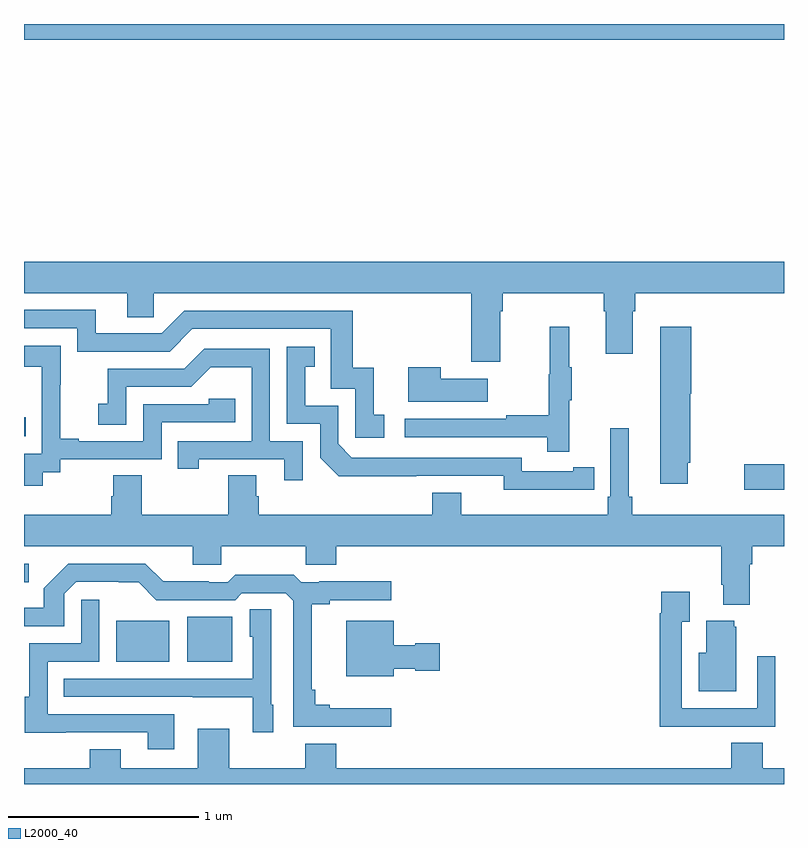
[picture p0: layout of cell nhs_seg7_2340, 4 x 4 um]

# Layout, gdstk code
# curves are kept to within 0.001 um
import gdstk
lib = gdstk.Library(unit=1e-6, precision=1e-09)
def R(c, l, rs):  # rectangles x0, y0, x1, y1
    for r in rs: c.add(gdstk.rectangle(r[:2], r[2:], *l))
def P(c, l, *ps):  # polygons
    for p in ps: c.add(gdstk.Polygon(p, *l))
L2000_40 = (2000, 40)

nhs_seg7_2340 = lib.new_cell('nhs_seg7_2340')
R(nhs_seg7_2340, L2000_40, [(263.486,1030.643,263.764,1030.858), (263.858,1030.643,264.097,1030.879), (263,1031.063,263.026,1031.16), (266.79,1031.549,267,1031.684), (263,1031.829,263.009,1031.93), (263,1033.916,267,1034)])
P(nhs_seg7_2340, L2000_40, [(265.507,1032.488),(265.52,1032.488),(265.52,1032.584),(266.051,1032.584),(266.051,1032.488),(266.063,1032.488),(266.063,1032.264),(266.203,1032.264),(266.203,1032.488),(266.216,1032.488),(266.216,1032.584),(267,1032.584),(267,1032.748),(263,1032.748),(263,1032.584),(263.543,1032.584),(263.543,1032.457),(263.682,1032.457),(263.682,1032.584),(265.355,1032.584),(265.355,1032.222),(265.507,1032.222)],
  [(264.895,1031.943),(264.842,1031.943),(264.842,1032.19),(264.731,1032.19),(264.731,1032.492),(263.844,1032.492),(263.724,1032.372),(263.377,1032.372),(263.377,1032.495),(263,1032.495),(263,1032.399),(263.28,1032.399),(263.28,1032.276),(263.766,1032.276),(263.886,1032.396),(264.615,1032.396),(264.615,1032.081),(264.744,1032.081),(264.744,1031.823),(264.895,1031.823)],
  [(266.494,1031.692),(266.507,1031.692),(266.507,1032.054),(266.512,1032.054),(266.512,1032.406),(266.348,1032.406),(266.348,1031.58),(266.494,1031.58)],
  [(265.871,1032.019),(265.882,1032.019),(265.882,1032.193),(265.871,1032.193),(265.871,1032.406),(265.768,1032.406),(265.768,1032.156),(265.761,1032.156),(265.761,1031.942),(265.537,1031.942),(265.537,1031.922),(265.005,1031.922),(265.005,1031.826),(265.753,1031.826),(265.753,1031.748),(265.871,1031.748)],
  [(263.098,1031.641),(263.19,1031.641),(263.19,1031.709),(263.724,1031.709),(263.724,1031.904),(264.113,1031.904),(264.113,1032.027),(263.973,1032.027),(263.973,1032),(263.628,1032),(263.628,1031.805),(263.287,1031.805),(263.287,1031.818),(263.192,1031.818),(263.192,1032.101),(263.193,1032.101),(263.193,1032.307),(263,1032.307),(263,1032.197),(263.093,1032.197),(263.093,1031.969),(263.094,1031.969),(263.094,1031.739),(263,1031.739),(263,1031.571),(263.098,1031.571)],
  [(265.892,1031.55),(266,1031.55),(266,1031.666),(265.892,1031.666),(265.892,1031.646),(265.62,1031.646),(265.62,1031.718),(264.726,1031.718),(264.654,1031.79),(264.654,1031.991),(264.481,1031.991),(264.481,1032.195),(264.53,1032.195),(264.53,1032.301),(264.384,1032.301),(264.384,1031.895),(264.558,1031.895),(264.558,1031.718),(264.656,1031.621),(265.524,1031.622),(265.524,1031.549)],
  [(264.468,1031.805),(264.294,1031.805),(264.294,1032.291),(263.948,1032.291),(263.843,1032.186),(263.44,1032.186),(263.44,1032.001),(263.391,1032.001),(263.391,1031.892),(263.538,1031.892),(263.538,1032.09),(263.88,1032.09),(263.984,1032.194),(264.198,1032.194),(264.198,1031.805),(263.809,1031.805),(263.809,1031.658),(263.92,1031.658),(263.92,1031.709),(264.371,1031.709),(264.371,1031.598),(264.468,1031.598)],
  [(265.441,1032.133),(265.193,1032.133),(265.193,1032.193),(265.022,1032.193),(265.022,1032.011),(265.441,1032.011)],
  [(266.821,1031.156),(266.834,1031.156),(266.834,1031.252),(267,1031.252),(267,1031.416),(266.201,1031.416),(266.201,1031.512),(266.182,1031.512),(266.182,1031.872),(266.085,1031.872),(266.085,1031.512),(266.072,1031.512),(266.072,1031.416),(265.3,1031.416),(265.3,1031.533),(265.148,1031.533),(265.148,1031.416),(264.236,1031.416),(264.236,1031.514),(264.223,1031.514),(264.223,1031.624),(264.076,1031.624),(264.076,1031.416),(263.619,1031.416),(263.619,1031.624),(263.471,1031.624),(263.471,1031.514),(263.459,1031.514),(263.459,1031.416),(263,1031.416),(263,1031.252),(263.888,1031.252),(263.888,1031.154),(264.039,1031.154),(264.039,1031.252),(264.484,1031.252),(264.484,1031.154),(264.644,1031.154),(264.644,1031.252),(266.669,1031.252),(266.669,1031.05),(266.681,1031.05),(266.681,1030.943),(266.821,1030.943)],
  [(264.934,1030.399),(264.61,1030.399),(264.61,1030.418),(264.533,1030.418),(264.533,1030.495),(264.515,1030.495),(264.515,1030.946),(264.61,1030.946),(264.61,1030.968),(264.934,1030.968),(264.934,1031.066),(264.553,1031.066),(264.553,1031.061),(264.459,1031.061),(264.419,1031.101),(264.112,1031.101),(264.072,1031.061),(263.972,1031.061),(263.972,1031.066),(263.732,1031.066),(263.637,1031.16),(263.234,1031.16),(263.104,1031.03),(263.104,1030.927),(263,1030.927),(263,1030.83),(263.211,1030.83),(263.211,1031.001),(263.274,1031.064),(263.603,1031.063),(263.697,1030.968),(264.111,1030.968),(264.147,1031.004),(264.378,1031.004),(264.417,1030.965),(264.417,1030.302),(264.934,1030.302)],
  [(266.639,1030.302),(266.955,1030.302),(266.955,1030.672),(266.859,1030.672),(266.859,1030.398),(266.463,1030.398),(266.463,1030.855),(266.503,1030.855),(266.503,1031.011),(266.355,1031.011),(266.355,1030.898),(266.347,1030.898),(266.347,1030.301),(266.639,1030.301)],
  [(263.791,1030.368),(263.124,1030.368),(263.124,1030.644),(263.397,1030.644),(263.397,1030.969),(263.301,1030.969),(263.301,1030.74),(263.028,1030.74),(263.028,1030.458),(263.003,1030.458),(263.003,1030.271),(263.221,1030.271),(263.221,1030.272),(263.651,1030.272),(263.651,1030.182),(263.791,1030.182)],
  [(264.313,1030.416),(264.3,1030.416),(264.3,1030.919),(264.188,1030.919),(264.188,1030.776),(264.204,1030.776),(264.204,1030.554),(263.209,1030.554),(263.209,1030.458),(263.887,1030.458),(263.887,1030.457),(264.204,1030.457),(264.204,1030.272),(264.313,1030.272)],
  [(266.749,1030.827),(266.738,1030.827),(266.738,1030.858),(266.591,1030.858),(266.591,1030.69),(266.552,1030.69),(266.552,1030.487),(266.749,1030.487)],
  [(264.946,1030.607),(265.059,1030.607),(265.059,1030.595),(265.189,1030.595),(265.189,1030.742),(265.059,1030.742),(265.059,1030.729),(264.946,1030.729),(264.946,1030.858),(264.695,1030.858),(264.695,1030.568),(264.946,1030.568)],
  [(267,1030.084),(266.888,1030.084),(266.888,1030.217),(266.723,1030.217),(266.723,1030.084),(264.643,1030.084),(264.643,1030.213),(264.479,1030.213),(264.479,1030.084),(264.079,1030.084),(264.079,1030.291),(263.915,1030.291),(263.915,1030.084),(263.509,1030.084),(263.509,1030.183),(263.345,1030.183),(263.345,1030.084),(263,1030.084),(263,1030),(267,1030)])

lib.write_gds('nhs_seg7_2340.gds')
